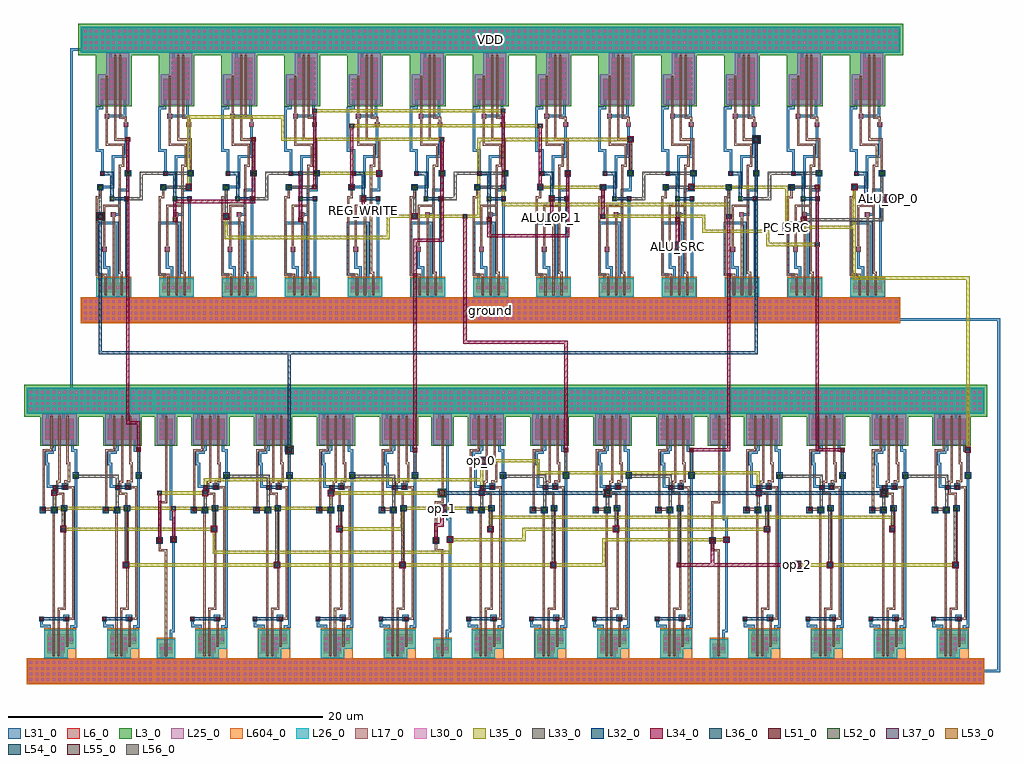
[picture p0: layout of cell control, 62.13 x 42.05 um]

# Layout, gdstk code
import gdstk
lib = gdstk.Library(unit=1e-6, precision=1e-09)
def R(c, l, rs):  # rectangles x0, y0, x1, y1
    for r in rs: c.add(gdstk.rectangle(r[:2], r[2:], *l))
def A(c, l, x, y, w, h, nx, ny, dx, dy):  # array of equal rectangles
    R(c, l, [(x+i*dx, y+j*dy, x+i*dx+w, y+j*dy+h) for i in range(nx) for j in range(ny)])
def P(c, l, *ps):  # polygons
    for p in ps: c.add(gdstk.Polygon(p, *l))
L3_0 = (3, 0)
L6_0 = (6, 0)
L17_0 = (17, 0)
L25_0 = (25, 0)
L26_0 = (26, 0)
L30_0 = (30, 0)
L31_0 = (31, 0)
L32_0 = (32, 0)
L33_0 = (33, 0)
L34_0 = (34, 0)
L35_0 = (35, 0)
L36_0 = (36, 0)
L37_0 = (37, 0)
L51_0 = (51, 0)
L52_0 = (52, 0)
L53_0 = (53, 0)
L54_0 = (54, 0)
L55_0 = (55, 0)
L56_0 = (56, 0)
L604_0 = (604, 0)

m1m2 = lib.new_cell('M1M2')
R(m1m2, L31_0, [(-0.145,-0.145,0.145,0.145)])
R(m1m2, L32_0, [(-0.145,-0.145,0.145,0.145)])
R(m1m2, L51_0, [(-0.095,-0.095,0.095,0.095)])

m2m3 = lib.new_cell('M2M3')
R(m2m3, L32_0, [(-0.145,-0.145,0.145,0.145)])
R(m2m3, L33_0, [(-0.145,-0.145,0.145,0.145)])
R(m2m3, L52_0, [(-0.095,-0.095,0.095,0.095)])

poly_m1 = lib.new_cell('POLY_M1')
R(poly_m1, L17_0, [(-0.15,-0.15,0.15,0.15)])
R(poly_m1, L30_0, [(-0.08,-0.08,0.08,0.08)])
R(poly_m1, L31_0, [(-0.13,-0.13,0.13,0.13)])

c_or = lib.new_cell('or')
R(c_or, L3_0, [(24.35,98.125,26.63,101.605), (23.23,101.345,27.75,103.365)])
R(c_or, L6_0, [(23.47,84.365,27.51,85.905), (24.58,86.275,26.41,86.875), (23.47,101.585,27.51,103.125)])
P(c_or, L6_0, [(26.32,98.515),(26.32,101.215),(25.2,101.215),(25.2,99.865),(24.66,99.865),(24.66,98.515)])
A(c_or, L17_0, 24.92, 86.095, 0.13, 0.18, 3, 2, 0.51, 0.78)
A(c_or, L17_0, 24.92, 86.275, 0.13, 0.6, 3, 1, 0.51, 0)
R(c_or, L17_0, [(24.58,92.9,24.715,93.03), (25,97.415,25.13,98.465), (25,98.335,25.13,98.515), (25.54,98.335,25.67,98.515), (25.85,98.335,25.98,98.515), (25,98.515,25.13,99.865), (25.54,98.515,25.67,101.215), (25.85,98.515,25.98,101.215), (25,99.865,25.13,100.045), (25.54,101.215,25.67,101.395), (25.85,101.215,25.98,101.395)])
P(c_or, L17_0, [(25.54,95.93),(26.335,95.93),(26.335,93.775),(26.465,93.775),(26.465,96.06),(25.67,96.06),(25.67,98.465),(25.54,98.465)],
  [(25.405,91.165),(25.43,91.165),(25.43,86.925),(25.56,86.925),(25.56,91.295),(25.405,91.295)],
  [(25.85,97.315),(26.205,97.315),(26.205,96.88),(26.335,96.88),(26.335,97.445),(25.98,97.445),(25.98,98.465),(25.85,98.465)],
  [(24.84,88.95),(24.97,88.95),(24.97,91.705),(25.94,91.705),(25.94,91.835),(24.84,91.835)],
  [(24.355,87.325),(24.92,87.325),(24.92,86.925),(25.05,86.925),(25.05,87.455),(24.485,87.455),(24.485,92.245),(24.71,92.245),(24.71,93.03),(24.58,93.03),(24.58,92.375),(24.355,92.375)],
  [(25.81,87.455),(25.94,87.455),(25.94,86.925),(26.07,86.925),(26.07,87.585),(25.94,87.585),(25.94,91.835),(25.81,91.835)],
  [(25,95.61),(26.025,95.61),(26.025,94.38),(25.81,94.38),(25.81,91.705),(25.94,91.705),(25.94,94.25),(26.155,94.25),(26.155,95.74),(25.13,95.74),(25.13,97.545),(25,97.545)])
R(c_or, L25_0, [(23.41,84.305,27.57,85.965)])
P(c_or, L25_0, [(26.5,98.215),(26.5,101.515),(25.02,101.515),(25.02,100.165),(24.48,100.165),(24.48,98.215)])
R(c_or, L26_0, [(24.4,85.975,26.59,87.175), (23.41,101.525,27.57,103.185)])
A(c_or, L30_0, 23.61, 84.515, 0.16, 0.16, 11, 4, 0.36, 0.36)
A(c_or, L30_0, 24.65, 86.495, 0.16, 0.16, 4, 1, 0.51, 0)
A(c_or, L30_0, 25.27, 98.595, 0.16, 0.16, 1, 8, 0, 0.34)
A(c_or, L30_0, 26.09, 98.595, 0.16, 0.16, 1, 8, 0, 0.34)
A(c_or, L30_0, 24.73, 98.6, 0.16, 0.16, 1, 4, 0, 0.34)
A(c_or, L30_0, 23.61, 101.735, 0.16, 0.16, 11, 4, 0.36, 0.36)
A(c_or, L31_0, 24.6, 86.445, 0.26, 0.26, 4, 1, 0.51, 0)
R(c_or, L31_0, [(23.49,84.385,27.49,85.885), (23.49,84.385,27.49,85.885), (25.695,85.725,25.855,86.605), (26.23,86.545,26.39,92.305), (25.22,98.545,25.48,101.185), (26.04,98.545,26.3,101.185), (24.68,98.55,24.94,99.83), (25.22,101.025,25.38,101.765), (23.49,101.605,27.49,103.105), (23.49,101.605,27.49,103.105)])
P(c_or, L31_0, [(24.34,87.32),(24.65,87.32),(24.65,86.545),(24.81,86.545),(24.81,87.48),(24.5,87.48),(24.5,90.615),(25.62,90.615),(25.62,86.545),(25.78,86.545),(25.78,90.775),(24.34,90.775)],
  [(25.39,91.15),(25.945,91.15),(25.945,92.715),(26.48,92.715),(26.48,93.92),(26.32,93.92),(26.32,92.875),(25.785,92.875),(25.785,91.31),(25.39,91.31)],
  [(24.345,95.23),(24.7,95.23),(24.7,93.75),(24.86,93.75),(24.86,95.39),(24.505,95.39),(24.505,97.915),(24.84,97.915),(24.84,98.71),(24.68,98.71),(24.68,98.075),(24.345,98.075)],
  [(24.985,97.4),(25.145,97.4),(25.145,97.415),(26.285,97.415),(26.285,98.705),(26.125,98.705),(26.125,97.575),(24.985,97.575)],
  [(24.57,92.885),(25.545,92.885),(25.545,94.84),(26.35,94.84),(26.35,97.025),(26.19,97.025),(26.19,95),(25.385,95),(25.385,93.045),(24.57,93.045)],
  [(24.825,87.755),(25.115,87.755),(25.115,86.545),(25.275,86.545),(25.275,87.915),(24.985,87.915),(24.985,89.095),(24.825,89.095)])
R(c_or, L32_0, [(24.445,92.755,24.845,93.155), (26.2,93.645,26.6,94.045)])
P(c_or, L32_0, [(24.68,93.73),(25.29,93.73),(25.29,92.125),(26.41,92.125),(26.41,92.325),(25.49,92.325),(25.49,93.93),(24.68,93.93)])
R(c_or, L33_0, [(25.29,92.125,25.49,92.325), (24.55,92.865,24.75,93.065), (26.3,93.74,26.5,93.94)])
R(c_or, L604_0, [(23.41,84.305,27.57,85.965), (24.39,85.885,26.6,87.265)])
c_or.add(gdstk.Reference(m1m2, (26.31,92.225)))
c_or.add(gdstk.Reference(m2m3, (25.39,92.225)))
c_or.add(gdstk.Reference(m1m2, (24.78,93.83)))
c_or.add(gdstk.Reference(poly_m1, (26.4,93.84)))
c_or.add(gdstk.Reference(m1m2, (26.4,93.84)))
c_or.add(gdstk.Reference(m2m3, (26.4,93.84)))
c_or.add(gdstk.Reference(poly_m1, (25.47,91.23)))
c_or.add(gdstk.Reference(poly_m1, (26.27,96.945)))
c_or.add(gdstk.Reference(m1m2, (24.65,92.965)))
c_or.add(gdstk.Reference(m2m3, (24.65,92.965)))
c_or.add(gdstk.Reference(poly_m1, (25.065,97.48)))
c_or.add(gdstk.Reference(poly_m1, (24.645,92.965)))
c_or.add(gdstk.Reference(m1m2, (24.645,92.965)))
c_or.add(gdstk.Reference(poly_m1, (24.905,89.015)))
c_or.add(gdstk.Label('/M5', (25.065,99.19), layer=17, texttype=0))
c_or.add(gdstk.Label('/M1', (25.605,99.865), layer=17, texttype=0))
c_or.add(gdstk.Label('/M2', (25.915,99.865), layer=17, texttype=0))
c_or.add(gdstk.Label('/M3', (24.985,86.575), layer=17, texttype=0))
c_or.add(gdstk.Label('/M4', (25.495,86.575), layer=17, texttype=0))
c_or.add(gdstk.Label('/M6', (26.005,86.575), layer=17, texttype=0))
c_or.add(gdstk.Label('A', (26.4,93.84), layer=133, texttype=0))
c_or.add(gdstk.Label('B', (24.65,92.965), layer=133, texttype=0))
c_or.add(gdstk.Label('Y', (25.39,92.225), layer=133, texttype=0))

m3m4 = lib.new_cell('M3M4')
R(m3m4, L33_0, [(-0.145,-0.145,0.145,0.145)])
R(m3m4, L34_0, [(-0.145,-0.145,0.145,0.145)])
R(m3m4, L53_0, [(-0.095,-0.095,0.095,0.095)])

or3 = lib.new_cell('or3')
R(or3, L31_0, [(-1.465,86.35,6.535,87.85), (-1.465,103.57,6.535,105.07)])
R(or3, L33_0, [(4.335,92.75,4.535,94.29), (-0.405,92.965,-0.205,95.03), (3.595,94.83,5.43,95.03), (1.345,95.705,1.545,98.07)])
P(or3, L33_0, [(0.335,94.09),(2.395,94.09),(2.395,95.705),(5.545,95.705),(5.545,95.905),(2.195,95.905),(2.195,94.29),(0.335,94.29)])
R(or3, L34_0, [(4.335,92.75,4.535,92.95), (-0.405,92.965,-0.205,93.165), (5.23,94.83,5.43,95.03), (1.345,97.87,1.545,98.07)])
or3.add(gdstk.Reference(c_or, (-20.955,1.965)))
or3.add(gdstk.Reference(c_or, (-24.955,1.965)))
or3.add(gdstk.Reference(m3m4, (4.435,92.85)))
or3.add(gdstk.Reference(m3m4, (5.33,94.93)))
or3.add(gdstk.Reference(m3m4, (-0.305,93.065)))
or3.add(gdstk.Reference(m3m4, (1.445,97.97)))
or3.add(gdstk.Label('ground', (2.535,87.1), layer=131, texttype=0))
or3.add(gdstk.Label('VDD', (2.535,104.32), layer=131, texttype=0))
or3.add(gdstk.Label('Y', (4.435,92.85), layer=134, texttype=0))
or3.add(gdstk.Label('C', (5.33,94.93), layer=134, texttype=0))
or3.add(gdstk.Label('B', (-0.305,93.065), layer=134, texttype=0))
or3.add(gdstk.Label('A', (1.445,97.97), layer=134, texttype=0))

and_ = lib.new_cell('and')
R(and_, L3_0, [(24.095,109.78,26.545,111.91), (23.06,111.65,27.58,113.67)])
R(and_, L6_0, [(23.3,94.67,27.34,96.21), (24.405,110.17,26.235,111.52), (23.3,111.89,27.34,113.43)])
P(and_, L6_0, [(26.205,97.78),(26.205,97.18),(25.665,97.18),(25.665,96.58),(24.545,96.58),(24.545,97.78)])
A(and_, L17_0, 24.745, 109.99, 0.13, 0.18, 3, 2, 0.51, 1.53)
A(and_, L17_0, 24.745, 110.17, 0.13, 1.35, 3, 1, 0.51, 0)
R(and_, L17_0, [(24.885,96.4,25.015,96.58), (25.195,96.4,25.325,96.58), (24.885,96.58,25.015,97.78), (25.195,96.58,25.325,97.78), (25.735,97,25.865,97.18), (25.735,97.18,25.865,97.78), (24.885,97.78,25.015,97.96), (25.195,97.78,25.325,97.96), (25.735,97.78,25.865,97.96), (24.885,97.83,25.015,105.81), (25.735,97.83,25.865,98.835), (24.21,105.645,25.105,105.845)])
P(and_, L17_0, [(25.615,107.085),(25.745,107.085),(25.745,107.48),(25.99,107.48),(25.99,108.74),(25.895,108.74),(25.895,110.12),(25.765,110.12),(25.765,108.61),(25.86,108.61),(25.86,107.61),(25.615,107.61)],
  [(25.195,97.83),(25.325,97.83),(25.325,99.35),(25.715,99.35),(25.715,105.83),(25.585,105.83),(25.585,99.48),(25.195,99.48)],
  [(24.245,105.68),(24.375,105.68),(24.375,109.455),(24.875,109.455),(24.875,110.12),(24.745,110.12),(24.745,109.585),(24.245,109.585)],
  [(25.115,106.67),(25.5,106.67),(25.5,105.7),(25.63,105.7),(25.63,106.8),(25.245,106.8),(25.245,107.43),(25.385,107.43),(25.385,110.12),(25.255,110.12),(25.255,107.56),(25.115,107.56)],
  [(25.615,107.085),(26.13,107.085),(26.13,98.835),(25.735,98.835),(25.735,98.705),(26.26,98.705),(26.26,107.215),(25.615,107.215)])
R(and_, L25_0, [(23.24,94.61,27.4,96.27), (24.225,109.87,26.415,111.82)])
R(and_, L26_0, [(23.24,111.83,27.4,113.49)])
P(and_, L26_0, [(26.385,98.08),(26.385,96.88),(25.845,96.88),(25.845,96.28),(24.365,96.28),(24.365,98.08)])
A(and_, L30_0, 23.44, 94.82, 0.16, 0.16, 11, 4, 0.36, 0.36)
A(and_, L30_0, 24.615, 96.76, 0.16, 0.16, 1, 3, 0, 0.34)
A(and_, L30_0, 25.435, 96.76, 0.16, 0.16, 1, 3, 0, 0.34)
A(and_, L30_0, 24.475, 110.255, 0.16, 0.16, 4, 4, 0.51, 0.34)
A(and_, L30_0, 23.44, 112.04, 0.16, 0.16, 11, 4, 0.36, 0.36)
R(and_, L30_0, [(25.975,97.4,26.135,97.56)])
A(and_, L31_0, 24.425, 110.205, 0.26, 1.28, 4, 1, 0.51, 0)
R(and_, L31_0, [(23.32,94.69,27.32,96.19), (23.32,94.69,27.32,96.19), (25.385,96.03,25.545,96.87), (24.565,96.71,24.825,97.65), (25.385,96.71,25.645,97.65), (25.925,97.35,26.185,97.61), (25.55,98.62,25.95,99.02), (24.06,105.5,24.46,105.9), (24.755,105.505,25.155,105.905), (25.41,105.615,25.81,106.015), (25.475,107,25.875,107.4), (24.485,111.325,24.645,112.07), (25.5,111.325,25.66,112.07), (23.32,111.91,27.32,113.41), (23.32,111.91,27.32,113.41)])
P(and_, L31_0, [(24.095,98.245),(24.615,98.245),(24.615,97.49),(24.775,97.49),(24.775,98.405),(24.255,98.405),(24.255,98.85),(24.095,98.85)],
  [(24.405,108.565),(24.51,108.565),(24.51,107.135),(25.105,107.135),(25.105,107.295),(24.67,107.295),(24.67,108.725),(24.565,108.725),(24.565,109.3),(24.96,109.3),(24.96,109.485),(25.095,109.485),(25.095,110.365),(24.935,110.365),(24.935,109.645),(24.8,109.645),(24.8,109.46),(24.405,109.46)],
  [(26.01,97.45),(26.17,97.45),(26.17,98.21),(26.435,98.21),(26.435,109.56),(26.215,109.56),(26.215,110.365),(26.055,110.365),(26.055,109.4),(26.275,109.4),(26.275,98.37),(26.01,98.37)])
R(and_, L32_0, [(24.075,98.67,25.9,98.87), (24.06,105.495,24.46,105.895), (24.8,105.505,25.2,105.905), (25.42,105.615,25.82,106.015), (24.925,107.05,25.78,107.25), (26.16,107.695,26.56,108.095)])
R(and_, L33_0, [(24.905,105.645,25.105,105.845), (25.465,105.645,25.665,105.845), (26.255,107.76,26.455,107.96)])
R(and_, L604_0, [(23.24,94.61,27.4,96.27), (24.355,96.19,26.395,98.17)])
and_.add(gdstk.Reference(m1m2, (25.025,107.15)))
and_.add(gdstk.Reference(poly_m1, (25.68,107.15)))
and_.add(gdstk.Reference(m1m2, (25.68,107.15)))
and_.add(gdstk.Reference(poly_m1, (25.565,105.765)))
and_.add(gdstk.Reference(m1m2, (25.565,105.765)))
and_.add(gdstk.Reference(m2m3, (25.565,105.765)))
and_.add(gdstk.Reference(poly_m1, (24.31,105.745)))
and_.add(gdstk.Reference(m1m2, (24.31,105.745)))
and_.add(gdstk.Reference(m2m3, (25.005,105.745)))
and_.add(gdstk.Reference(poly_m1, (25.8,98.77)))
and_.add(gdstk.Reference(m1m2, (25.8,98.77)))
and_.add(gdstk.Reference(m1m2, (26.355,107.85)))
and_.add(gdstk.Reference(m2m3, (26.355,107.85)))
and_.add(gdstk.Reference(m2m3, (25.005,105.745)))
and_.add(gdstk.Reference(m1m2, (25.005,105.745)))
and_.add(gdstk.Reference(m1m2, (24.175,98.77)))
and_.add(gdstk.Reference(poly_m1, (25.005,105.745)))
and_.add(gdstk.Label('/M3', (24.81,110.845), layer=17, texttype=0))
and_.add(gdstk.Label('/M4', (25.32,110.845), layer=17, texttype=0))
and_.add(gdstk.Label('/M5', (25.83,110.845), layer=17, texttype=0))
and_.add(gdstk.Label('/M1', (24.95,97.18), layer=17, texttype=0))
and_.add(gdstk.Label('/M2', (25.26,97.18), layer=17, texttype=0))
and_.add(gdstk.Label('/M6', (25.8,97.48), layer=17, texttype=0))
and_.add(gdstk.Label('A', (25.005,105.745), layer=133, texttype=0))
and_.add(gdstk.Label('B', (25.565,105.745), layer=133, texttype=0))
and_.add(gdstk.Label('Y', (26.355,107.86), layer=133, texttype=0))
and_.add(gdstk.Label('VDD', (25.32,112.66), layer=131, texttype=0))
and_.add(gdstk.Label('ground', (25.32,95.44), layer=131, texttype=0))

and3 = lib.new_cell('and3')
R(and3, L31_0, [(-16.155,29.61,-8.155,31.11), (-16.155,46.83,-8.155,48.33)])
R(and3, L33_0, [(-10.01,37.025,-9.81,37.225), (-10.01,37.025,-9.81,40.765), (-14.01,39.305,-13.81,39.505), (-14.01,39.305,-13.81,40.765), (-14.57,40.565,-14.37,41.81), (-14.57,41.61,-14.37,41.81), (-9.22,42.68,-9.02,44.555), (-9.22,44.355,-9.02,44.555)])
P(and3, L33_0, [(-13.22,42.68),(-10.57,42.68),(-10.57,40.565),(-10.37,40.565),(-10.37,42.88),(-13.22,42.88)])
and3.add(gdstk.Reference(and_, (-39.475,-65.08)))
and3.add(gdstk.Reference(and_, (-35.475,-65.08)))
and3.add(gdstk.Label('ground', (-12.155,30.36), layer=131, texttype=0))
and3.add(gdstk.Label('VDD', (-12.155,47.58), layer=131, texttype=0))
and3.add(gdstk.Label('C', (-9.91,37.125), layer=133, texttype=0))
and3.add(gdstk.Label('B', (-13.91,39.405), layer=133, texttype=0))
and3.add(gdstk.Label('A', (-14.47,41.71), layer=133, texttype=0))
and3.add(gdstk.Label('Y', (-9.12,44.455), layer=133, texttype=0))

inv = lib.new_cell('inv')
R(inv, L3_0, [(-1.725,102.985,-0.295,105.115), (-2.06,104.855,0.06,106.875)])
R(inv, L6_0, [(-1.82,87.875,-0.18,89.415), (-1.425,89.785,-0.615,90.385), (-1.415,103.375,-0.605,104.725), (-1.82,105.095,-0.18,106.635)])
R(inv, L17_0, [(-1.085,89.605,-0.955,89.785), (-1.085,89.785,-0.955,90.385), (-1.085,90.385,-0.955,90.565), (-1.075,103.195,-0.945,103.375), (-1.075,103.375,-0.945,104.725), (-1.075,104.725,-0.945,104.905)])
P(inv, L17_0, [(-1.495,96.285),(-1.085,96.285),(-1.085,90.435),(-0.955,90.435),(-0.955,96.415),(-1.365,96.415),(-1.365,99.325),(-0.945,99.325),(-0.945,103.325),(-1.075,103.325),(-1.075,99.455),(-1.495,99.455)])
R(inv, L25_0, [(-1.88,87.815,-0.12,89.475), (-1.595,103.075,-0.425,105.025)])
R(inv, L26_0, [(-1.605,89.485,-0.435,90.685), (-1.88,105.035,-0.12,106.695)])
A(inv, L30_0, -1.62, 88.025, 0.16, 0.16, 4, 4, 0.36, 0.36)
A(inv, L30_0, -1.345, 103.46, 0.16, 0.16, 1, 4, 0, 0.34)
A(inv, L30_0, -0.835, 103.46, 0.16, 0.16, 1, 4, 0, 0.34)
A(inv, L30_0, -1.62, 105.245, 0.16, 0.16, 4, 4, 0.36, 0.36)
R(inv, L30_0, [(-1.355,90.005,-1.195,90.165), (-0.845,90.005,-0.685,90.165)])
R(inv, L31_0, [(-1.8,87.895,-0.2,89.395), (-1.8,87.895,-0.2,89.395), (-1.365,89.235,-1.205,90.115), (-1.405,89.955,-1.145,90.215), (-0.895,89.955,-0.635,90.215), (-1.635,96.775,-1.235,97.175), (-1.395,103.41,-1.135,104.69), (-0.885,103.41,-0.625,104.69), (-1.3,104.53,-1.14,105.275), (-1.8,105.115,-0.2,106.615), (-1.8,105.115,-0.2,106.615)])
P(inv, L31_0, [(-0.795,90.055),(-0.635,90.055),(-0.635,91.13),(-0.455,91.13),(-0.455,98.41),(-0.625,98.41),(-0.625,103.57),(-0.785,103.57),(-0.785,98.25),(-0.615,98.25),(-0.615,91.29),(-0.795,91.29)])
R(inv, L32_0, [(-1.635,96.775,-1.235,97.175), (-0.74,96.82,-0.34,97.22)])
R(inv, L33_0, [(-1.53,96.88,-1.33,97.08), (-0.635,96.92,-0.435,97.12)])
R(inv, L604_0, [(-1.88,87.815,-0.12,89.475), (-1.615,89.395,-0.425,90.775)])
inv.add(gdstk.Reference(m1m2, (-0.535,97.02)))
inv.add(gdstk.Reference(m2m3, (-0.535,97.02)))
inv.add(gdstk.Reference(poly_m1, (-1.43,96.98)))
inv.add(gdstk.Reference(m1m2, (-1.43,96.98)))
inv.add(gdstk.Reference(m2m3, (-1.43,96.98)))
inv.add(gdstk.Label('/M1', (-1.02,90.085), layer=17, texttype=0))
inv.add(gdstk.Label('/M2', (-1.01,104.05), layer=17, texttype=0))
inv.add(gdstk.Label('IN', (-1.43,96.98), layer=133, texttype=0))
inv.add(gdstk.Label('OUT', (-0.535,97.02), layer=133, texttype=0))
inv.add(gdstk.Label('VDD', (-1,105.865), layer=131, texttype=0))
inv.add(gdstk.Label('ground', (-1,88.645), layer=131, texttype=0))

m4m5 = lib.new_cell('M4M5')
R(m4m5, L34_0, [(-0.145,-0.145,0.145,0.145)])
R(m4m5, L35_0, [(-0.145,-0.145,0.145,0.145)])
R(m4m5, L54_0, [(-0.095,-0.095,0.095,0.095)])

m5m6 = lib.new_cell('M5M6')
R(m5m6, L35_0, [(-0.23,-0.23,0.23,0.23)])
R(m5m6, L36_0, [(-0.27,-0.27,0.27,0.27)])
R(m5m6, L55_0, [(-0.18,-0.18,0.18,0.18)])

m6m7 = lib.new_cell('M6M7')
R(m6m7, L36_0, [(-0.23,-0.23,0.23,0.23)])
R(m6m7, L37_0, [(-0.27,-0.27,0.27,0.27)])
R(m6m7, L56_0, [(-0.18,-0.18,0.18,0.18)])

control = lib.new_cell('control')
R(control, L31_0, [(-27.185,43.355,33.615,44.855), (-27.185,60.575,33.615,62.075), (-23.74,66.345,28.26,67.845), (-23.74,83.565,28.26,85.065)])
P(control, L31_0, [(28.1,66.41),(34.53,66.41),(34.53,44.185),(33.455,44.185),(33.455,44.025),(34.69,44.025),(34.69,66.57),(28.1,66.57)],
  [(-24.5,61.915),(-24.34,61.915),(-24.34,83.605),(-23.58,83.605),(-23.58,83.765),(-24.5,83.765)])
R(control, L33_0, [(-1.415,52.235,-1.015,52.635), (-19.025,52.24,-18.625,52.64), (16.19,52.24,16.59,52.64), (17.075,52.275,17.475,52.675), (-0.515,52.28,-0.115,52.68), (-18.12,52.285,-17.72,52.685), (16.285,52.335,16.485,52.54), (-18.915,52.34,-18.705,52.54), (17.18,52.38,17.385,52.58), (-7.44,53.05,-7.24,53.255), (2.15,53.05,2.36,53.25), (10.16,53.05,10.365,53.25), (19.76,53.05,19.965,53.25), (27.75,53.05,27.96,53.25), (27.195,55.355,27.4,55.555), (-2.65,58.095,-2.45,58.3), (6.95,58.1,7.16,58.3), (25.94,73.99,26.34,74.39), (-6.06,73.995,-5.66,74.395), (5.96,74,6.36,74.4), (-6.79,74.72,-6.39,75.12), (5.225,74.73,5.625,75.13), (25.22,74.735,25.62,75.135), (6.97,75.595,7.37,75.995), (-5.035,75.6,-4.635,76)])
P(control, L33_0, [(22.06,72.745),(27.27,72.745),(27.27,75.9),(27.07,75.9),(27.07,72.945),(22.06,72.945)])
R(control, L34_0, [(6.055,50.66,6.455,51.06), (-3.55,50.665,-3.15,51.065), (23.67,50.665,24.07,51.065), (-21.145,50.67,-20.745,51.07), (-11.535,50.675,-11.135,51.075), (31.65,50.675,32.05,51.075), (14.16,50.77,16.485,50.97), (16.285,50.77,16.485,52.535), (16.285,50.77,21.875,50.97), (17.09,52.27,17.49,52.67), (-0.505,52.285,-0.105,52.685), (-18.905,52.34,-18.705,55.555), (-18.02,52.38,-17.82,54.57), (2.055,52.945,2.455,53.345), (19.665,52.945,20.065,53.345), (10.045,52.95,10.445,53.35), (-15.555,52.955,-15.155,53.355), (-25.145,52.96,-24.745,53.36), (-7.565,52.96,-7.165,53.36), (27.635,52.96,28.035,53.36), (19.125,55.235,19.525,55.635), (-8.105,55.25,-7.705,55.65), (-16.1,55.255,-15.7,55.655), (1.5,55.26,1.9,55.66), (9.485,55.26,9.885,55.66), (27.08,55.26,27.48,55.66), (-25.715,55.265,-25.315,55.665), (-10.76,58.005,-10.36,58.405), (32.44,58.01,32.84,58.41), (14.06,71.075,14.26,72.945), (22.955,71.175,23.155,75.025), (21.99,72.64,22.39,73.04), (-9.94,72.745,-9.74,75.9), (-22.78,72.86,-22.38,73.26), (-14.78,72.86,-14.38,73.26), (-2.78,72.865,-2.38,73.265), (6.06,72.885,6.26,74.285), (9.32,72.96,9.52,73.165), (17.32,72.96,17.525,73.16), (9.32,72.965,9.52,75.025), (-5.94,73.365,-5.74,74.285), (25.94,73.995,26.34,74.395), (27.38,74,27.78,74.4), (14.84,74.725,15.24,75.125), (25.22,74.735,25.62,75.135), (-17.16,74.74,-16.76,75.14), (-9.045,74.825,-8.845,79.875), (-6.68,74.825,-6.48,78.92), (2.955,74.825,3.155,79.875), (5.32,74.825,5.52,78.92), (-5.03,75.605,-4.63,76.005), (18.985,77.75,19.385,78.15), (10.98,77.765,11.38,78.165), (11.07,77.86,11.27,78.065), (-0.935,77.865,-0.73,78.065), (19.07,77.865,19.275,78.065)])
P(control, L34_0, [(-1.315,52.34),(-1.115,52.34),(-1.115,53.315),(-0.73,53.315),(-0.73,54.58),(-0.93,54.58),(-0.93,53.515),(-1.315,53.515)],
  [(2.06,71.72),(7.27,71.72),(7.27,75.9),(7.07,75.9),(7.07,71.92),(2.26,71.92),(2.26,72.945),(2.06,72.945)],
  [(14.95,58.1),(17.52,58.1),(17.52,73.16),(17.32,73.16),(17.32,58.3),(14.95,58.3)],
  [(0.53,64.94),(6.96,64.94),(6.96,58.1),(7.16,58.1),(7.16,65.14),(0.73,65.14),(0.73,73.16),(0.53,73.16)],
  [(-2.65,58.095),(-2.45,58.095),(-2.45,71.435),(-0.735,71.435),(-0.735,78.065),(-0.935,78.065),(-0.935,71.635),(-2.65,71.635)],
  [(-20.93,59.83),(-20.25,59.83),(-20.25,58.11),(-20.05,58.11),(-20.05,60.03),(-20.73,60.03),(-20.73,78.065),(-20.93,78.065)],
  [(-17.94,72.745),(-17.74,72.745),(-17.74,73.905),(-12.73,73.905),(-12.73,78.065),(-12.93,78.065),(-12.93,74.105),(-17.94,74.105)],
  [(22.955,58.1),(24.75,58.1),(24.75,58.3),(23.155,58.3),(23.155,71.375),(22.955,71.375)])
R(control, L35_0, [(-21.04,50.77,-11.24,50.97), (-11.44,50.77,-3.24,50.97), (21.675,50.77,23.96,50.97), (23.76,50.77,31.96,50.97), (-25.035,53.05,-15.24,53.25), (2.15,53.05,2.35,54.005), (-18.905,55.355,-15.8,55.555), (-8,55.355,-0.725,55.555), (1.6,55.355,1.8,56.385), (1.6,56.185,1.8,57.595), (25.32,72.28,25.52,75.025), (-2.68,72.96,0.73,73.16), (26.06,74.085,27.705,74.285), (5.32,74.825,9.52,75.025), (-9.94,75.7,-4.73,75.9), (-6.68,78.72,5.52,78.92), (-9.045,79.675,3.155,79.875)])
P(control, L35_0, [(-3.44,50.77),(9.57,50.77),(9.57,52.38),(17.385,52.38),(17.385,52.58),(9.37,52.58),(9.37,50.97),(-3.44,50.97)],
  [(1.6,57.395),(5.185,57.395),(5.185,56.63),(19.2,56.63),(19.2,55.355),(19.4,55.355),(19.4,56.83),(5.385,56.83),(5.385,57.595),(1.6,57.595)],
  [(-15.44,51.575),(-0.22,51.575),(-0.22,52.58),(-0.42,52.58),(-0.42,51.775),(-15.24,51.775),(-15.24,53.25),(-15.44,53.25)],
  [(-0.42,52.38),(4.485,52.38),(4.485,53.05),(19.965,53.05),(19.965,53.25),(4.285,53.25),(4.285,52.58),(-0.42,52.58)],
  [(2.15,53.805),(27.75,53.805),(27.75,53.05),(27.95,53.05),(27.95,54.005),(2.15,54.005)],
  [(-7.44,53.055),(-3.265,53.055),(-3.265,54.38),(2.15,54.38),(2.15,53.805),(2.35,53.805),(2.35,54.58),(-3.465,54.58),(-3.465,53.255),(-7.44,53.255)],
  [(-18.02,54.37),(-7.8,54.37),(-7.8,55.555),(-8,55.555),(-8,54.57),(-18.02,54.57)],
  [(-25.6,54.37),(-17.82,54.37),(-17.82,54.57),(-25.4,54.57),(-25.4,55.555),(-25.6,55.555)],
  [(-16,55.355),(-15.8,55.355),(-15.8,56.185),(1.8,56.185),(1.8,56.385),(-16,56.385)],
  [(2.955,73.72),(17.325,73.72),(17.325,72.96),(17.525,72.96),(17.525,73.92),(3.155,73.92),(3.155,75.025),(2.955,75.025)],
  [(14.955,74.825),(21.02,74.825),(21.02,72.28),(25.52,72.28),(25.52,72.48),(21.22,72.48),(21.22,75.025),(14.955,75.025)],
  [(9.32,72.965),(15.735,72.965),(15.735,72.02),(19.805,72.02),(19.805,71.175),(23.155,71.175),(23.155,71.375),(20.005,71.375),(20.005,72.22),(15.935,72.22),(15.935,73.165),(9.32,73.165)],
  [(25.32,69.04),(32.55,69.04),(32.55,58.1),(32.75,58.1),(32.75,69.24),(25.52,69.24),(25.52,72.48),(25.32,72.48)],
  [(0.53,72.96),(1.605,72.96),(1.605,77.86),(11.27,77.86),(11.27,78.06),(1.405,78.06),(1.405,73.16),(0.53,73.16)],
  [(-17.045,74.835),(-16.845,74.835),(-16.845,79.29),(-11.065,79.29),(-11.065,77.865),(-0.735,77.865),(-0.735,78.065),(-10.865,78.065),(-10.865,79.49),(-17.045,79.49)],
  [(-14.68,71.615),(-4.145,71.615),(-4.145,72.96),(-2.48,72.96),(-2.48,73.16),(-4.345,73.16),(-4.345,71.815),(-14.48,71.815),(-14.48,73.16),(-14.68,73.16)])
R(control, L36_0, [(-0.925,55.355,27.395,55.555), (-10.65,58.1,-10.45,64.475)])
P(control, L36_0, [(-10.65,64.275),(19.275,64.275),(19.275,78.065),(19.075,78.065),(19.075,64.475),(-10.65,64.475)],
  [(-22.68,64.275),(-10.45,64.275),(-10.45,64.475),(-22.48,64.475),(-22.48,73.16),(-22.68,73.16)])
R(control, L37_0, [(21.675,50.78,21.875,50.98), (-0.93,54.37,-0.73,54.57), (1.62,57.415,1.78,57.575), (14.06,71.075,14.26,71.275), (21.02,72.285,21.22,72.485), (6.06,72.885,6.26,73.085), (-5.94,73.365,-5.74,73.565), (27.505,74.085,27.705,74.285)])
control.add(gdstk.Reference(c_or, (0.77,-18.04)))
control.add(gdstk.Reference(c_or, (-19.23,-18.04)))
control.add(gdstk.Reference(c_or, (-31.23,-18.04)))
control.add(gdstk.Reference(or3, (17.725,-20.005)))
control.add(gdstk.Reference(or3, (9.725,-20.005)))
control.add(gdstk.Reference(or3, (-2.275,-20.005)))
control.add(gdstk.Reference(or3, (-14.275,-20.005)))
control.add(gdstk.Reference(or3, (-22.275,-20.005)))
control.add(gdstk.Reference(and3, (41.77,13.745)))
control.add(gdstk.Reference(and3, (33.77,13.745)))
control.add(gdstk.Reference(and3, (24.17,13.745)))
control.add(gdstk.Reference(and3, (16.17,13.745)))
control.add(gdstk.Reference(and3, (6.57,13.745)))
control.add(gdstk.Reference(and3, (-1.43,13.745)))
control.add(gdstk.Reference(and3, (-11.03,13.745)))
control.add(gdstk.Reference(inv, (17.815,-44.54)))
control.add(gdstk.Reference(inv, (0.215,-44.54)))
control.add(gdstk.Reference(inv, (-17.385,-44.54)))
control.add(gdstk.Reference(m4m5, (31.86,50.87)))
control.add(gdstk.Reference(m3m4, (31.86,50.87)))
control.add(gdstk.Reference(m5m6, (-10.55,58.2)))
control.add(gdstk.Reference(m4m5, (-10.55,58.2)))
control.add(gdstk.Reference(m3m4, (-10.55,58.2)))
control.add(gdstk.Reference(m3m4, (7.06,58.2)))
control.add(gdstk.Reference(m3m4, (-2.55,58.195)))
control.add(gdstk.Reference(m3m4, (-20.15,58.21)))
control.add(gdstk.Reference(m3m4, (15.05,58.2)))
control.add(gdstk.Reference(m3m4, (24.65,58.2)))
control.add(gdstk.Reference(m4m5, (32.65,58.2)))
control.add(gdstk.Reference(m3m4, (32.65,58.2)))
control.add(gdstk.Reference(m3m4, (23.86,50.87)))
control.add(gdstk.Reference(m4m5, (-11.34,50.87)))
control.add(gdstk.Reference(m3m4, (-11.34,50.87)))
control.add(gdstk.Reference(m4m5, (-3.34,50.87)))
control.add(gdstk.Reference(m3m4, (-3.34,50.87)))
control.add(gdstk.Reference(m4m5, (17.285,52.48)))
control.add(gdstk.Reference(m3m4, (17.285,52.48)))
control.add(gdstk.Reference(m4m5, (6.26,50.87)))
control.add(gdstk.Reference(m3m4, (6.26,50.87)))
control.add(gdstk.Reference(m4m5, (21.775,50.87)))
control.add(gdstk.Reference(m3m4, (14.26,50.87)))
control.add(gdstk.Reference(m3m4, (16.385,52.435)))
control.add(gdstk.Reference(m6m7, (21.775,50.87)))
control.add(gdstk.Reference(m5m6, (21.775,50.87)))
control.add(gdstk.Reference(m4m5, (23.86,50.87)))
control.add(gdstk.Reference(m3m4, (-20.94,50.87)))
control.add(gdstk.Reference(m3m4, (-7.9,55.455)))
control.add(gdstk.Reference(m4m5, (-25.5,55.455)))
control.add(gdstk.Reference(m3m4, (-25.5,55.455)))
control.add(gdstk.Reference(m4m5, (-17.92,54.47)))
control.add(gdstk.Reference(m3m4, (-17.92,52.48)))
control.add(gdstk.Reference(m6m7, (1.7,57.495)))
control.add(gdstk.Reference(m5m6, (1.7,57.495)))
control.add(gdstk.Reference(m4m5, (1.7,55.455)))
control.add(gdstk.Reference(m3m4, (1.7,55.455)))
control.add(gdstk.Reference(m4m5, (-15.9,55.455)))
control.add(gdstk.Reference(m3m4, (-15.9,55.455)))
control.add(gdstk.Reference(m4m5, (-18.805,55.455)))
control.add(gdstk.Reference(m3m4, (-18.805,52.44)))
control.add(gdstk.Reference(m4m5, (-20.94,50.87)))
control.add(gdstk.Reference(m4m5, (-7.9,55.455)))
control.add(gdstk.Reference(m4m5, (27.85,53.15)))
control.add(gdstk.Reference(m3m4, (27.85,53.15)))
control.add(gdstk.Reference(m4m5, (-0.32,52.48)))
control.add(gdstk.Reference(m3m4, (-0.32,52.48)))
control.add(gdstk.Reference(m4m5, (10.265,53.15)))
control.add(gdstk.Reference(m3m4, (10.265,53.15)))
control.add(gdstk.Reference(m4m5, (2.25,53.15)))
control.add(gdstk.Reference(m3m4, (2.25,53.15)))
control.add(gdstk.Reference(m4m5, (-7.34,53.155)))
control.add(gdstk.Reference(m3m4, (-7.34,53.155)))
control.add(gdstk.Reference(m6m7, (-0.83,54.48)))
control.add(gdstk.Reference(m5m6, (-0.83,54.48)))
control.add(gdstk.Reference(m4m5, (-0.83,54.48)))
control.add(gdstk.Reference(m3m4, (-1.215,52.44)))
control.add(gdstk.Reference(m3m4, (19.865,53.15)))
control.add(gdstk.Reference(m5m6, (27.295,55.455)))
control.add(gdstk.Reference(m4m5, (27.295,55.455)))
control.add(gdstk.Reference(m3m4, (27.295,55.455)))
control.add(gdstk.Reference(m3m4, (19.3,55.455)))
control.add(gdstk.Reference(m4m5, (19.3,55.455)))
control.add(gdstk.Reference(m5m6, (9.7,55.455)))
control.add(gdstk.Reference(m4m5, (9.7,55.455)))
control.add(gdstk.Reference(m3m4, (9.7,55.455)))
control.add(gdstk.Reference(m5m6, (-0.825,55.455)))
control.add(gdstk.Reference(m4m5, (-24.935,53.15)))
control.add(gdstk.Reference(m3m4, (-24.935,53.15)))
control.add(gdstk.Reference(m4m5, (-15.34,53.15)))
control.add(gdstk.Reference(m3m4, (-15.34,53.15)))
control.add(gdstk.Reference(m4m5, (19.865,53.15)))
control.add(gdstk.Reference(m3m4, (26.16,74.185)))
control.add(gdstk.Reference(m5m6, (27.605,74.185)))
control.add(gdstk.Reference(m4m5, (27.605,74.185)))
control.add(gdstk.Reference(m4m5, (17.425,73.06)))
control.add(gdstk.Reference(m6m7, (6.16,72.985)))
control.add(gdstk.Reference(m5m6, (6.16,72.985)))
control.add(gdstk.Reference(m4m5, (6.16,72.985)))
control.add(gdstk.Reference(m3m4, (6.16,74.185)))
control.add(gdstk.Reference(m6m7, (14.16,71.175)))
control.add(gdstk.Reference(m5m6, (14.16,71.175)))
control.add(gdstk.Reference(m6m7, (27.605,74.185)))
control.add(gdstk.Reference(m4m5, (15.055,74.925)))
control.add(gdstk.Reference(m6m7, (21.12,72.38)))
control.add(gdstk.Reference(m5m6, (21.12,72.38)))
control.add(gdstk.Reference(m4m5, (25.42,74.925)))
control.add(gdstk.Reference(m3m4, (25.42,74.925)))
control.add(gdstk.Reference(m3m4, (22.16,72.845)))
control.add(gdstk.Reference(m4m5, (26.16,74.185)))
control.add(gdstk.Reference(m4m5, (-5.84,73.465)))
control.add(gdstk.Reference(m3m4, (-5.84,74.185)))
control.add(gdstk.Reference(m4m5, (-14.58,73.06)))
control.add(gdstk.Reference(m3m4, (-6.58,74.925)))
control.add(gdstk.Reference(m4m5, (-6.58,78.82)))
control.add(gdstk.Reference(m4m5, (5.42,78.82)))
control.add(gdstk.Reference(m4m5, (-2.58,73.06)))
control.add(gdstk.Reference(m4m5, (14.16,71.175)))
control.add(gdstk.Reference(m4m5, (23.055,71.275)))
control.add(gdstk.Reference(m4m5, (9.42,73.065)))
control.add(gdstk.Reference(m3m4, (7.17,75.8)))
control.add(gdstk.Reference(m4m5, (5.42,74.925)))
control.add(gdstk.Reference(m3m4, (5.42,74.925)))
control.add(gdstk.Reference(m4m5, (9.42,74.925)))
control.add(gdstk.Reference(m4m5, (3.055,74.925)))
control.add(gdstk.Reference(m4m5, (-4.83,75.8)))
control.add(gdstk.Reference(m5m6, (-22.58,73.06)))
control.add(gdstk.Reference(m4m5, (-22.58,73.06)))
control.add(gdstk.Reference(m5m6, (19.175,77.965)))
control.add(gdstk.Reference(m4m5, (19.175,77.965)))
control.add(gdstk.Reference(m4m5, (0.63,73.06)))
control.add(gdstk.Reference(m4m5, (-9.84,75.8)))
control.add(gdstk.Reference(m4m5, (11.17,77.96)))
control.add(gdstk.Reference(m3m4, (-4.83,75.8)))
control.add(gdstk.Reference(m4m5, (-16.945,74.935)))
control.add(gdstk.Reference(m4m5, (-0.835,77.965)))
control.add(gdstk.Reference(m4m5, (-8.945,79.775)))
control.add(gdstk.Reference(m4m5, (3.055,79.775)))
control.add(gdstk.Reference(m6m7, (-5.84,73.465)))
control.add(gdstk.Reference(m5m6, (-5.84,73.465)))
control.add(gdstk.Label('op_0', (1.7,57.495), layer=137, texttype=0))
control.add(gdstk.Label('op_2', (21.775,50.88), layer=137, texttype=0))
control.add(gdstk.Label('op_1', (-0.83,54.47), layer=137, texttype=0))
control.add(gdstk.Label('ground', (2.26,67.095), layer=131, texttype=0))
control.add(gdstk.Label('VDD', (2.26,84.315), layer=131, texttype=0))
control.add(gdstk.Label('PC_SRC', (21.12,72.385), layer=137, texttype=0))
control.add(gdstk.Label('REG_WRITE', (-5.84,73.465), layer=137, texttype=0))
control.add(gdstk.Label('ALU_OP_1', (6.16,72.985), layer=137, texttype=0))
control.add(gdstk.Label('ALU_OP_0', (27.605,74.185), layer=137, texttype=0))
control.add(gdstk.Label('ALU_SRC', (14.16,71.175), layer=137, texttype=0))

lib.write_gds('control.gds')
